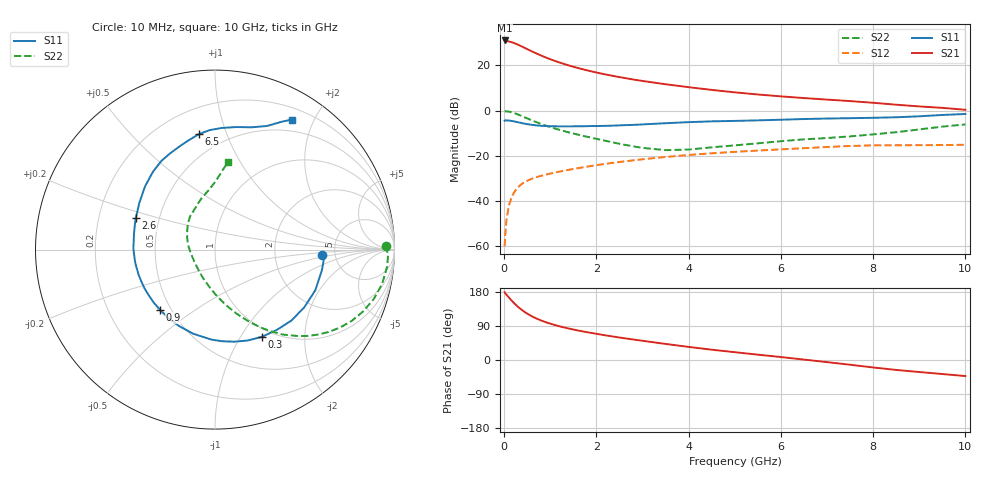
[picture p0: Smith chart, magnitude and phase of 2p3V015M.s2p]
! (c) 2009  Infineon Technologies AG, Munich
! Infineon Technologies  Discrete & RF Semiconductors
! BFP420
! VCE =  3.0 V,  IC =  15 mA
! Common Emitter S-Parameters:  Nov 2009
# GHz  S  MA  R  50
!  f  S11  S21  S12  S22
! GHz  MAG  ANG  MAG  ANG  MAG  ANG  MAG  ANG
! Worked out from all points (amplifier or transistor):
!   46 points, 10 MHz to 10 GHz, reference 50 ohm
!   highest |S21| = 31.0 dB at 10 MHz (marker M1)
!   |S21| within 3 dB of that: start of sweep to 417 MHz
!   unconditionally stable (mu >= 1): 2.042 GHz to end of sweep
!   at 300 MHz: K = 0.26, MSG = 31.6 dB, |S12| = -34.0 dB
!   at 1.7 GHz: K = 0.92, MSG = 21.7 dB, |S12| = -25.1 dB
!   at 10 GHz: K = 1.08, MAG = 6.1 dB, |S12| = -15.1 dB
!   lowest NFmin = 1.06 dB at 900 MHz
!   S11 on the Smith chart (normalised r, x): 10 MHz: 3.92, -0.35; 300 MHz: 0.89, -1.24; 900 MHz: 0.44, -0.37; 2.6 GHz: 0.37, +0.17; 6.5 GHz: 0.36, +0.81; 10 GHz: 0.34, +1.70
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0.01  0.5961 -2.8  35.62 179.0  0.001 88.3  0.9528 1.3
0.02  0.6093 -4.4  34.7 176.7  0.0016 77.8  0.9645 -2.0
0.05  0.6066 -10.9  34.45 172.3  0.0038 82.9  0.9639 -5.6
0.1  0.6031 -22.0  33.94 165.3  0.0077 79.8  0.9504 -11.7
0.15  0.5924 -32.8  32.89 158.4  0.0111 75.9  0.9263 -17.3
0.2  0.5809 -42.9  31.65 152.0  0.0145 72.2  0.8948 -22.6
0.3  0.5516 -61.7  28.71 140.3  0.02 65.4  0.8205 -32.0
0.35  0.538 -70.3  27.2 135.3  0.0224 63.0  0.7815 -36.0
0.45  0.5122 -85.5  24.28 126.3  0.0264 58.6  0.7064 -42.9
0.6  0.4841 -104.6  20.47 115.3  0.0311 54.4  0.6078 -51.2
0.7  0.4706 -115.3  18.35 109.5  0.0336 52.7  0.5533 -55.5
0.9  0.4544 -132.4  15.01 99.8  0.0382 50.5  0.4668 -62.6
1.2  0.4479 -151.7  11.58 88.9  0.0446 49.1  0.3743 -71.6
1.7  0.4507 -174.0  8.235 75.6  0.0554 47.4  0.2773 -84.3
2.2  0.4594 169.4  6.303 65.0  0.0664 45.1  0.214 -97.4
2.6  0.4756 158.2  5.28 57.5  0.075 42.7  0.1762 -110.7
3.5  0.5254 137.9  3.823 42.4  0.0941 36.3  0.1335 -150.2
5.5  0.6075 109.1  2.271 14.1  0.1304 19.7  0.1886 145.2
6.5  0.6503 97.8  1.893 1.1  0.1473 11.2  0.231 127.1
7  0.6668 92.4  1.75 -5.6  0.1564 6.6  0.2469 118.8
8.5  0.7115 73.3  1.35 -26.2  0.1709 -9.8  0.3328 96.1
10  0.8411 59.5  1.042 -42.4  0.1749 -20.7  0.4937 81.4
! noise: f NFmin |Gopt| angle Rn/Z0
0.9  1.06  0.09  -152  0.13
1.8  1.36  0.18  -147  0.12
2.4  1.49  0.17  -148  0.14
3  1.53  0.25  -138  0.14
4  1.67  0.38  -119  0.2
5  2.14  0.44  -103  0.32
6  2.48  0.5  -88  0.47
